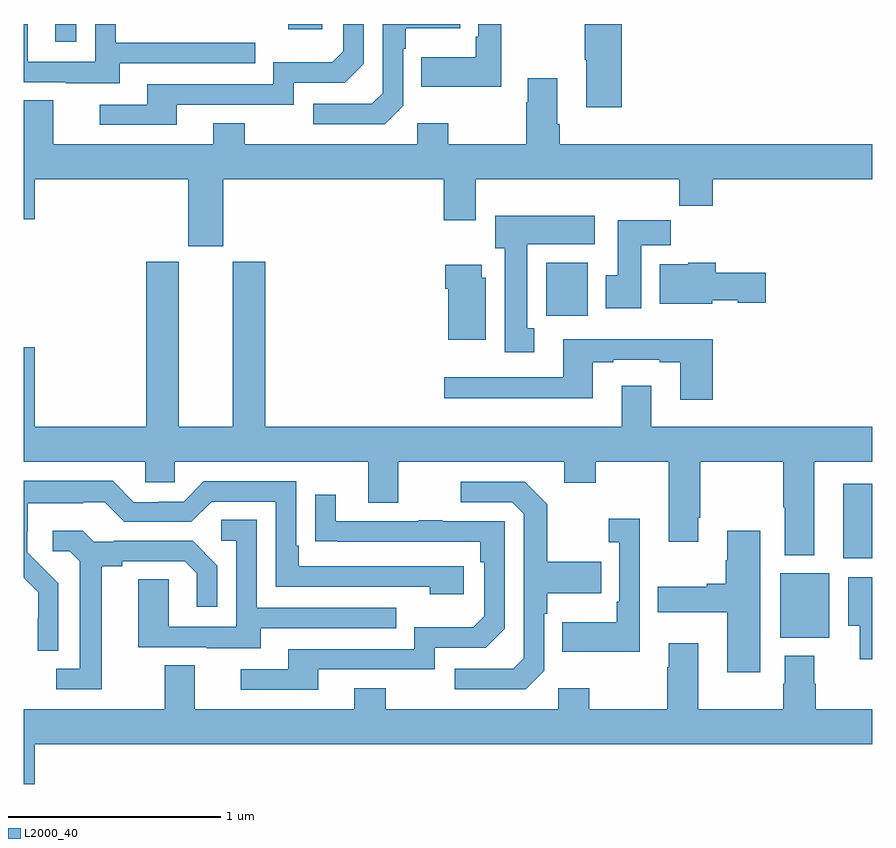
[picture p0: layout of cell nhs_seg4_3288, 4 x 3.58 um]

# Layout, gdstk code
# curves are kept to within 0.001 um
import gdstk
lib = gdstk.Library(unit=1e-6, precision=1e-09)
def R(c, l, rs):  # rectangles x0, y0, x1, y1
    for r in rs: c.add(gdstk.rectangle(r[:2], r[2:], *l))
def P(c, l, *ps):  # polygons
    for p in ps: c.add(gdstk.Polygon(p, *l))
L2000_40 = (2000, 40)

nhs_seg4_3288 = lib.new_cell('nhs_seg4_3288')
R(nhs_seg4_3288, L2000_40, [(288.566,780.005,288.799,780.31), (288.863,780.38,289,780.733), (287.463,781.524,287.659,781.774), (285.149,782.817,285.246,782.9), (286.247,782.876,286.408,782.9)])
P(nhs_seg4_3288, L2000_40, [(285.451,782.715),(286.091,782.715),(286.091,782.811),(285.432,782.811),(285.432,782.9),(285.336,782.9),(285.336,782.721),(285.018,782.721),(285.018,782.9),(285,782.9),(285,782.625),(285.197,782.625),(285.197,782.621),(285.451,782.621)],
  [(287.251,782.9),(287.142,782.9),(287.142,782.839),(287.13,782.839),(287.13,782.743),(286.873,782.743),(286.873,782.603),(287.251,782.603)],
  [(287.819,782.9),(287.644,782.9),(287.644,782.731),(287.651,782.731),(287.651,782.508),(287.819,782.508)],
  [(285.721,782.52),(286.272,782.52),(286.272,782.622),(286.512,782.622),(286.602,782.712),(286.602,782.9),(286.506,782.9),(286.506,782.772),(286.453,782.719),(286.176,782.719),(286.176,782.616),(285.581,782.616),(285.581,782.52),(285.357,782.52),(285.357,782.424),(285.721,782.424)],
  [(286.788,782.514),(286.788,782.783),(286.801,782.783),(286.801,782.879),(287.057,782.879),(287.057,782.9),(286.692,782.9),(286.692,782.574),(286.641,782.523),(286.365,782.523),(286.365,782.427),(286.701,782.427)],
  [(285.94,782.168),(286.979,782.168),(286.979,781.974),(287.131,781.974),(287.131,782.168),(288.091,782.168),(288.091,782.044),(288.248,782.044),(288.248,782.168),(289,782.168),(289,782.332),(287.528,782.332),(287.528,782.428),(287.515,782.428),(287.515,782.644),(287.375,782.644),(287.375,782.531),(287.368,782.531),(287.368,782.332),(287.001,782.332),(287.001,782.431),(286.854,782.431),(286.854,782.332),(286.041,782.332),(286.041,782.431),(285.893,782.431),(285.893,782.332),(285.139,782.332),(285.139,782.54),(285,782.54),(285,781.98),(285.052,781.98),(285.052,782.168),(285.776,782.168),(285.776,781.851),(285.94,781.851)],
  [(287.407,781.465),(287.374,781.465),(287.374,781.862),(287.692,781.862),(287.692,781.996),(287.222,781.996),(287.222,781.842),(287.267,781.842),(287.267,781.353),(287.407,781.353)],
  [(287.911,781.856),(288.05,781.856),(288.05,781.975),(287.801,781.975),(287.801,781.716),(287.744,781.716),(287.744,781.56),(287.911,781.56)],
  [(288.727,780.836),(289,780.836),(289,781),(287.959,781),(287.959,781.195),(287.819,781.195),(287.819,781),(286.139,781),(286.139,781.779),(285.986,781.779),(285.986,781),(285.73,781),(285.73,781.779),(285.578,781.779),(285.578,781),(285.052,781),(285.052,781.375),(285,781.375),(285,780.836),(285.573,780.836),(285.573,780.738),(285.711,780.738),(285.711,780.836),(286.625,780.836),(286.625,780.642),(286.765,780.642),(286.765,780.836),(287.549,780.836),(287.549,780.737),(287.697,780.737),(287.697,780.836),(288.041,780.836),(288.041,780.459),(288.181,780.459),(288.181,780.571),(288.189,780.571),(288.189,780.836),(288.58,780.836),(288.58,780.621),(288.587,780.621),(288.587,780.395),(288.727,780.395)],
  [(288.246,781.598),(288.366,781.598),(288.366,781.586),(288.499,781.586),(288.499,781.728),(288.263,781.728),(288.263,781.774),(288.132,781.774),(288.132,781.768),(287.999,781.768),(287.999,781.58),(288.246,781.58)],
  [(287.179,781.704),(287.158,781.704),(287.158,781.765),(286.988,781.765),(286.988,781.652),(287,781.652),(287,781.412),(287.179,781.412)],
  [(288.248,781.414),(287.543,781.414),(287.543,781.233),(286.983,781.233),(286.983,781.136),(287.683,781.136),(287.683,781.305),(287.779,781.305),(287.779,781.317),(287.999,781.317),(287.999,781.305),(288.095,781.305),(288.095,781.128),(288.248,781.128)],
  [(285.162,780.262),(285.016,780.41),(285.016,780.507),(285.018,780.507),(285.018,780.641),(285.281,780.641),(285.281,780.645),(285.381,780.645),(285.474,780.552),(285.789,780.552),(285.885,780.648),(286.188,780.648),(286.188,780.246),(286.913,780.246),(286.913,780.212),(287.074,780.212),(287.074,780.342),(286.297,780.342),(286.297,780.439),(286.284,780.439),(286.284,780.744),(285.849,780.744),(285.753,780.648),(285.635,780.648),(285.635,780.645),(285.519,780.645),(285.419,780.745),(285,780.745),(285,780.288),(285.068,780.221),(285.068,780.098),(285.066,780.098),(285.066,779.944),(285.162,779.944)],
  [(287.454,779.85),(287.454,780.119),(287.467,780.119),(287.467,780.215),(287.723,780.215),(287.723,780.363),(287.467,780.363),(287.467,780.635),(287.361,780.741),(287.061,780.741),(287.061,780.645),(287.304,780.645),(287.358,780.591),(287.358,779.91),(287.307,779.859),(287.031,779.859),(287.031,779.763),(287.367,779.763)],
  [(286.387,779.856),(286.938,779.856),(286.938,779.958),(287.178,779.958),(287.268,780.048),(287.268,780.555),(286.973,780.555),(286.973,780.56),(286.861,780.56),(286.861,780.555),(286.471,780.555),(286.471,780.679),(286.375,780.679),(286.375,780.46),(287.152,780.459),(287.152,780.362),(287.172,780.362),(287.172,780.108),(287.119,780.055),(286.842,780.055),(286.842,779.952),(286.247,779.952),(286.247,779.856),(286.023,779.856),(286.023,779.76),(286.387,779.76)],
  [(287.904,780.343),(287.905,780.343),(287.905,780.568),(287.757,780.568),(287.757,780.455),(287.808,780.455),(287.808,780.175),(287.796,780.175),(287.796,780.079),(287.539,780.079),(287.539,779.939),(287.904,779.939)],
  [(286.117,780.051),(286.757,780.051),(286.757,780.147),(286.098,780.147),(286.098,780.563),(285.93,780.563),(285.93,780.462),(286.002,780.462),(286.002,780.057),(285.684,780.057),(285.684,780.281),(285.539,780.281),(285.539,779.961),(285.863,779.961),(285.863,779.957),(286.117,779.957)],
  [(285.367,780.344),(285.463,780.344),(285.463,780.366),(285.758,780.366),(285.815,780.309),(285.815,780.153),(285.912,780.153),(285.912,780.346),(285.796,780.462),(285.424,780.462),(285.424,780.459),(285.33,780.459),(285.278,780.511),(285.135,780.511),(285.135,780.414),(285.216,780.414),(285.263,780.367),(285.263,779.859),(285.153,779.859),(285.153,779.763),(285.367,779.763)],
  [(288.472,780.511),(288.317,780.511),(288.317,780.371),(288.31,780.371),(288.31,780.26),(288.221,780.26),(288.221,780.247),(287.989,780.247),(287.989,780.125),(288.317,780.125),(288.317,779.844),(288.472,779.844)],
  [(289,780.292),(288.887,780.292),(288.887,780.062),(288.941,780.062),(288.941,779.904),(289,779.904)],
  [(285.052,779.504),(289,779.504),(289,779.668),(288.735,779.668),(288.735,779.789),(288.727,779.789),(288.727,779.92),(288.587,779.92),(288.587,779.789),(288.58,779.789),(288.58,779.668),(288.181,779.668),(288.181,779.98),(288.041,779.98),(288.041,779.867),(288.034,779.867),(288.034,779.668),(287.667,779.668),(287.667,779.767),(287.52,779.767),(287.52,779.668),(286.707,779.668),(286.707,779.767),(286.559,779.767),(286.559,779.668),(285.805,779.668),(285.805,779.876),(285.665,779.876),(285.665,779.668),(285,779.668),(285,779.316),(285.052,779.316)])

lib.write_gds('nhs_seg4_3288.gds')
